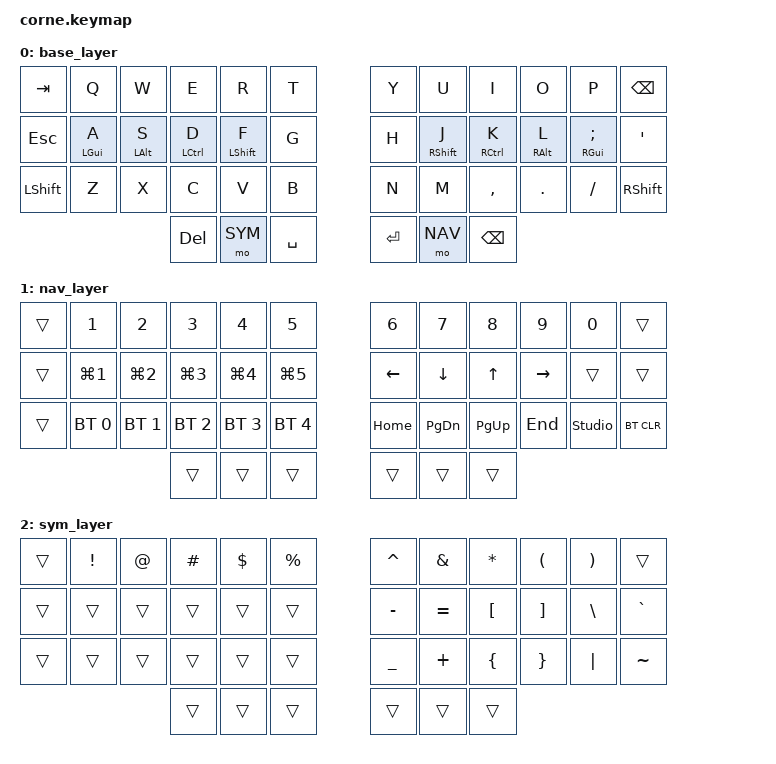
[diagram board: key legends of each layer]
/*
 * Copyright (c) 2020 The ZMK Contributors
 *
 * SPDX-License-Identifier: MIT
 *
 * Corne layout tuned for Omarchy / Hyprland:
 *   - Home row mods (GACS): Super/Alt/Ctrl/Shift live under the fingers.
 *   - NAV layer: workspace jumps (Super+1..5 as single keys) on the left home
 *     row, plain digits on the number row, vim arrows (H J K L) on the right.
 *   - SYM layer: symbols.
 */

#include <behaviors.dtsi>
#include <dt-bindings/zmk/keys.h>
#include <dt-bindings/zmk/bt.h>

// Layers
#define BASE 0
#define NAV  1
#define SYM  2

/ {
        behaviors {
                // Positional (bilateral) home row mods for the LEFT hand:
                // the modifier only engages when combined with a key on the
                // right hand or a thumb, which kills accidental mods while
                // typing on the same hand.
                hml: home_row_mod_left {
                        compatible = "zmk,behavior-hold-tap";
                        #binding-cells = <2>;
                        flavor = "balanced";
                        tapping-term-ms = <200>;
                        quick-tap-ms = <175>;
                        require-prior-idle-ms = <150>;
                        bindings = <&kp>, <&kp>;
                        hold-trigger-key-positions = <6 7 8 9 10 11 18 19 20 21 22 23 30 31 32 33 34 35 36 37 38 39 40 41>;
                        hold-trigger-on-release;
                };
                // Home row mods for the RIGHT hand.
                hmr: home_row_mod_right {
                        compatible = "zmk,behavior-hold-tap";
                        #binding-cells = <2>;
                        flavor = "balanced";
                        tapping-term-ms = <200>;
                        quick-tap-ms = <175>;
                        require-prior-idle-ms = <150>;
                        bindings = <&kp>, <&kp>;
                        hold-trigger-key-positions = <0 1 2 3 4 5 12 13 14 15 16 17 24 25 26 27 28 29 36 37 38 39 40 41>;
                        hold-trigger-on-release;
                };
        };

        keymap {
                compatible = "zmk,keymap";

                base_layer {
// ------------------------------------------------------------------------------------------
// | TAB |  Q  |  W  |  E  |  R  |  T  |   |  Y  |  U  |  I  |  O  |  P  | BSPC |
// | ESC |A/⌘ |S/⌥ |D/⌃ |F/⇧ |  G  |   |  H  |J/⇧ |K/⌃ |L/⌥ | ;/⌘| '    |
// | SHFT|  Z  |  X  |  C  |  V  |  B  |   |  N  |  M  |  ,  |  .  |  /  | SHFT |
//                   | DEL | SYM | SPC |   | ENT | NAV | BSPC|
                        bindings = <
   &kp TAB    &kp Q         &kp W         &kp E          &kp R         &kp T          &kp Y     &kp U          &kp I          &kp O         &kp P            &kp BSPC
   &kp ESC    &hml LGUI A   &hml LALT S   &hml LCTRL D   &hml LSHFT F  &kp G          &kp H     &hmr RSHFT J   &hmr RCTRL K   &hmr RALT L  &hmr RGUI SEMI   &kp SQT
   &kp LSHFT  &kp Z         &kp X         &kp C          &kp V         &kp B          &kp N     &kp M          &kp COMMA      &kp DOT      &kp FSLH         &kp RSHFT
                                          &kp DEL        &mo SYM       &kp SPACE      &kp RET   &mo NAV        &kp BSPC
                        >;
                };

                nav_layer {
// ------------------------------------------------------------------------------------------
// |     |  1  |  2  |  3  |  4  |  5  |   |  6  |  7  |  8  |  9  |  0  |      |   plain digits
// |     |WS1 |WS2 |WS3 |WS4 |WS5 |   |  ←  |  ↓  |  ↑  |  →  |     |      |   workspace jumps (Super+n) + vim arrows
// |     | BT1 | BT2 | BT3 | BT4 | BT5 |   | HOME| PGDN| PGUP| END | UNLK| BTCLR|
//                   |     |     |     |   |     |     |     |
                        bindings = <
   &trans   &kp N1        &kp N2        &kp N3        &kp N4        &kp N5         &kp N6     &kp N7     &kp N8     &kp N9    &kp N0          &trans
   &trans   &kp LG(N1)    &kp LG(N2)    &kp LG(N3)    &kp LG(N4)    &kp LG(N5)     &kp LEFT   &kp DOWN   &kp UP     &kp RIGHT &trans          &trans
   &trans   &bt BT_SEL 0  &bt BT_SEL 1  &bt BT_SEL 2  &bt BT_SEL 3  &bt BT_SEL 4   &kp HOME   &kp PG_DN  &kp PG_UP  &kp END   &studio_unlock  &bt BT_CLR
                                        &trans        &trans        &trans         &trans     &trans     &trans
                        >;
                };

                sym_layer {
// ------------------------------------------------------------------------------------------
// |     |  !  |  @  |  #  |  $  |  %  |   |  ^  |  &  |  *  |  (  |  )  |      |
// |     |     |     |     |     |     |   |  -  |  =  |  [  |  ]  |  \  |  `   |
// |     |     |     |     |     |     |   |  _  |  +  |  {  |  }  | "|" |  ~   |
//                   |     |     |     |   |     |     |     |
                        bindings = <
   &trans   &kp EXCL   &kp AT    &kp HASH  &kp DLLR  &kp PRCNT    &kp CARET  &kp AMPS   &kp ASTRK  &kp LPAR  &kp RPAR   &trans
   &trans   &trans     &trans    &trans    &trans    &trans       &kp MINUS  &kp EQUAL  &kp LBKT   &kp RBKT  &kp BSLH   &kp GRAVE
   &trans   &trans     &trans    &trans    &trans    &trans       &kp UNDER  &kp PLUS   &kp LBRC   &kp RBRC  &kp PIPE   &kp TILDE
                                 &trans    &trans    &trans       &trans     &trans     &trans
                        >;
                };
        };
};
